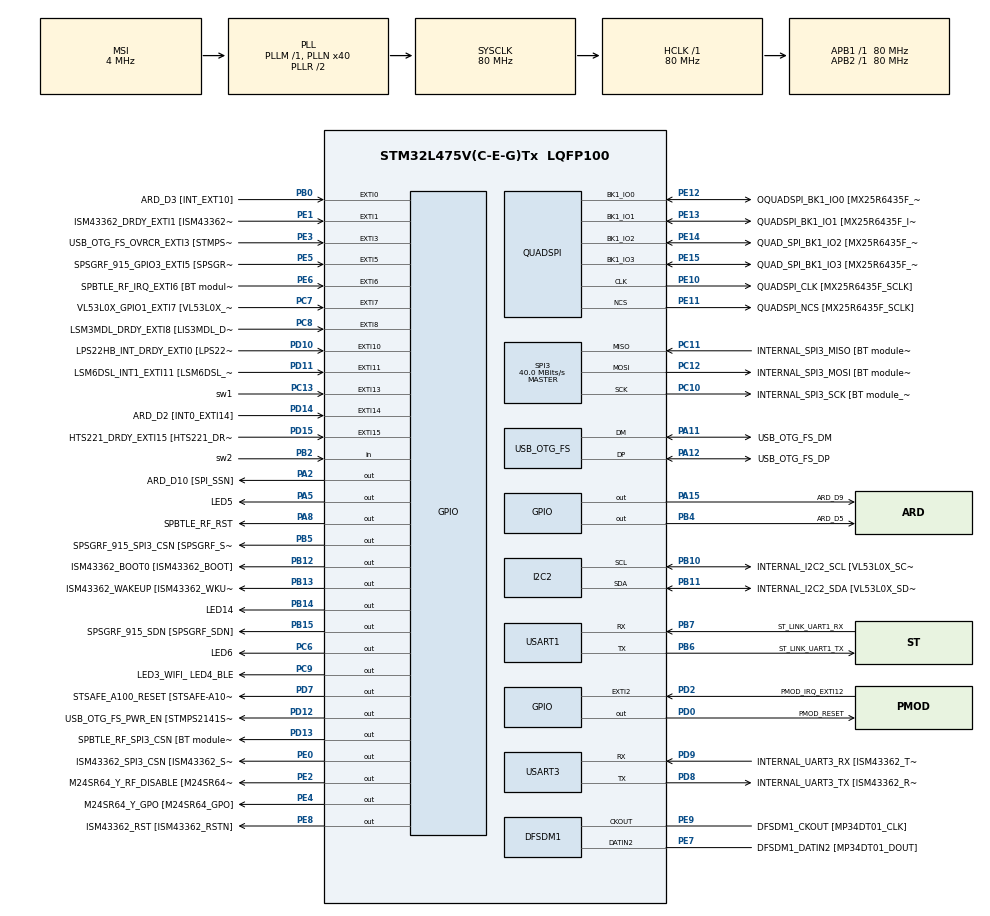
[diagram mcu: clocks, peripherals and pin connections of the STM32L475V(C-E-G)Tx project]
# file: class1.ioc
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I2C2.Timing=0x10909CEC
Mcu.Family=STM32L4
Mcu.Name=STM32L475V(C-E-G)Tx
Mcu.Package=LQFP100
NVIC.EXTI15_10_IRQn=true\:0\:0\:false\:false\:true\:true\:true
NVIC.EXTI9_5_IRQn=true\:0\:0\:false\:false\:true\:true\:true
NVIC.PriorityGroup=NVIC_PRIORITYGROUP_4
NVIC.TIM2_IRQn=true\:0\:0\:false\:false\:true\:true\:true
PA0.GPIO_Label=ARD_D1 [UART4_TX]
PA0.Signal=UART4_TX
PA1.GPIO_Label=ARD_D0 [UART4_RX]
PA1.Signal=UART4_RX
PA10.GPIO_Label=USB_OTG_FS_ID
PA10.Signal=USB_OTG_FS_ID
PA11.GPIO_Label=USB_OTG_FS_DM
PA11.Mode=Device_Only
PA11.Signal=USB_OTG_FS_DM
PA12.GPIO_Label=USB_OTG_FS_DP
PA12.Mode=Device_Only
PA12.Signal=USB_OTG_FS_DP
PA13\ (JTMS-SWDIO).GPIO_Label=SYS_JTMS_SWDIO
PA13\ (JTMS-SWDIO).Mode=Serial_Wire
PA13\ (JTMS-SWDIO).Signal=SYS_JTMS-SWDIO
PA14\ (JTCK-SWCLK).GPIO_Label=SYS_JTCK_SWCLK
PA14\ (JTCK-SWCLK).Mode=Serial_Wire
PA14\ (JTCK-SWCLK).Signal=SYS_JTCK-SWCLK
PA15\ (JTDI).GPIO_Label=ARD_D9
PA15\ (JTDI).Signal=GPIO_Output
PA2.GPIO_Label=ARD_D10 [SPI_SSN]
PA2.Signal=GPIO_Output
PA3.GPIO_Label=ARD_D4
PA3.Signal=S_TIM2_CH4
PA4.GPIO_Label=ARD_D7
PA4.Signal=ADCx_IN9
PA5.GPIO_Label=LED5
PA5.Signal=GPIO_Output
PA7.GPIO_Label=ARD_D11 [SPI1_MOSI]
PA7.Signal=SPI1_MOSI
PA8.GPIO_Label=SPBTLE_RF_RST
PA8.Signal=GPIO_Output
PA9.GPIO_Label=USB_OTG_FS_VBUS [STMPS2141STR_OUT]
PA9.Signal=USB_OTG_FS_VBUS
PB0.GPIO_Label=ARD_D3 [INT_EXT10]
PB0.Signal=GPXTI0
PB1.GPIO_Label=ARD_D6 [ADC1_IN6]
PB1.Signal=ADCx_IN16
PB10.GPIO_Label=INTERNAL_I2C2_SCL [VL53L0X_SCL]
PB10.GPIO_Pu=GPIO_PULLUP
PB10.Mode=I2C
PB10.Signal=I2C2_SCL
PB11.GPIO_Label=INTERNAL_I2C2_SDA [VL53L0X_SDA]
PB11.GPIO_Pu=GPIO_PULLUP
PB11.Mode=I2C
PB11.Signal=I2C2_SDA
PB12.GPIO_Label=ISM43362_BOOT0 [ISM43362_BOOT]
PB12.Signal=GPIO_Output
PB13.GPIO_Label=ISM43362_WAKEUP [ISM43362_WKUP]
PB13.Signal=GPIO_Output
PB14.GPIO_Label=LED14
PB14.Signal=GPIO_Output
PB15.GPIO_Label=SPSGRF_915_SDN [SPSGRF_SDN]
PB15.Signal=GPIO_Output
PB2.GPIO_Label=sw2
PB2.GPIO_PuPd=GPIO_PULLUP
PB2.Signal=GPIO_Input
PB3\ (JTDO-TRACESWO).GPIO_Label=SYS_JTD0_SWO
PB3\ (JTDO-TRACESWO).Signal=SYS_JTDO-SWO
PB4\ (NJTRST).GPIO_Label=ARD_D5
PB4\ (NJTRST).Signal=GPIO_Output
PB5.GPIO_Label=SPSGRF_915_SPI3_CSN [SPSGRF_SPI_CS]
PB5.PinState=GPIO_PIN_SET
PB5.Signal=GPIO_Output
PB6.GPIO_Label=ST_LINK_UART1_TX
PB6.Mode=Asynchronous
PB6.Signal=USART1_TX
PB7.GPIO_Label=ST_LINK_UART1_RX
PB7.Mode=Asynchronous
PB7.Signal=USART1_RX
PB8.GPIO_Label=ARD_D15 [I2C1_SCL]
PB8.Signal=I2C1_SCL
PB9.GPIO_Label=ARD_D14 [I2C1_SDA]
PB9.Signal=I2C1_SDA
PC0.GPIO_Label=ARD_A5 [ADC]
PC0.Signal=ADCx_IN1
PC1.GPIO_Label=ARD_A4 [ADC]
PC1.Signal=ADCx_IN2
PC10.GPIO_Label=INTERNAL_SPI3_SCK [BT module_SPI_SCLK] [ISM43362_SCK]
PC10.Mode=Full_Duplex_Master
PC10.Signal=SPI3_SCK
PC11.GPIO_Label=INTERNAL_SPI3_MISO [BT module_SPI_MISO] [ISM43362_MISO]
PC11.Mode=Full_Duplex_Master
PC11.Signal=SPI3_MISO
PC12.GPIO_Label=INTERNAL_SPI3_MOSI [BT module_SPI_MOSI] [ISM43362_MOSI]
PC12.Mode=Full_Duplex_Master
PC12.Signal=SPI3_MOSI
PC13.GPIO_Label=sw1
PC13.Signal=GPXTI13
PC14-OSC32_IN\ (PC14).Mode=LSE-External-Oscillator
PC14-OSC32_IN\ (PC14).Signal=RCC_OSC32_IN
PC15-OSC32_OUT\ (PC15).Mode=LSE-External-Oscillator
PC15-OSC32_OUT\ (PC15).Signal=RCC_OSC32_OUT
PC2.GPIO_Label=ARD_A3 [ADC]
PC2.Signal=ADCx_IN3
PC3.GPIO_Label=ARD_A2 [ADC]
PC3.Signal=ADCx_IN4
PC4.GPIO_Label=ARD_A1 [ADC]
PC4.Signal=ADCx_IN13
PC5.GPIO_Label=ARD_A0 [ADC]
PC5.Signal=ADCx_IN14
PC6.GPIO_Label=LED6
PC6.Signal=GPIO_Output
PC7.GPIO_Label=VL53L0X_GPIO1_EXTI7 [VL53L0X_GPIO1]
PC7.Signal=GPXTI7
PC8.GPIO_Label=LSM3MDL_DRDY_EXTI8 [LIS3MDL_DRDY]
PC8.Signal=GPXTI8
PC9.GPIO_Label=LED3_WIFI_ LED4_BLE
PC9.Signal=GPIO_Output
PD0.GPIO_Label=PMOD_RESET
PD0.Signal=GPIO_Output
PD1.GPIO_Label=PMOD_SPI2_SCK
PD1.Signal=SPI2_SCK
PD10.GPIO_Label=LPS22HB_INT_DRDY_EXTI0 [LPS22HB_INT_DRDY] 
PD10.Signal=GPXTI10
PD11.GPIO_Label=LSM6DSL_INT1_EXTI11 [LSM6DSL_INT1]
PD11.Signal=GPXTI11
PD12.GPIO_Label=USB_OTG_FS_PWR_EN [STMPS2141STR_EN]
PD12.Signal=GPIO_Output
PD13.GPIO_Label=SPBTLE_RF_SPI3_CSN [BT module_SPI_CS]
PD13.PinState=GPIO_PIN_SET
PD13.Signal=GPIO_Output
PD14.GPIO_Label=ARD_D2 [INT0_EXTI14]
PD14.Signal=GPXTI14
PD15.GPIO_Label=HTS221_DRDY_EXTI15 [HTS221_DRDY]
PD15.Signal=GPXTI15
PD2.GPIO_Label=PMOD_IRQ_EXTI12
PD2.Signal=GPXTI2
PD3.GPIO_Label=PMOD_UART2_CTS
PD3.Signal=USART2_CTS
PD4.GPIO_Label=PMOD_UART2_RTS
PD4.Signal=USART2_RTS
PD5.GPIO_Label=PMOD_UART2_TX
PD5.Signal=USART2_TX
PD6.GPIO_Label=PMOD_UART2_RX
PD6.Signal=USART2_RX
PD7.GPIO_Label=STSAFE_A100_RESET [STSAFE-A100_RESET]
PD7.Signal=GPIO_Output
PD8.GPIO_Label=INTERNAL_UART3_TX [ISM43362_RX]
PD8.Mode=Asynchronous
PD8.Signal=USART3_TX
PD9.GPIO_Label=INTERNAL_UART3_RX [ISM43362_TX]
PD9.Mode=Asynchronous
PD9.Signal=USART3_RX
PE0.GPIO_Label=ISM43362_SPI3_CSN [ISM43362_SSN]
PE0.PinState=GPIO_PIN_SET
PE0.Signal=GPIO_Output
PE1.GPIO_Label=ISM43362_DRDY_EXTI1 [ISM43362_DATARDY]
PE1.Signal=GPXTI1
PE10.GPIO_Label=QUADSPI_CLK [MX25R6435F_SCLK]
PE10.Mode=Single Bank
PE10.Signal=QUADSPI_CLK
PE11.GPIO_Label=QUADSPI_NCS [MX25R6435F_SCLK]
PE11.Mode=Single Bank
PE11.Signal=QUADSPI_NCS
PE12.GPIO_Label=OQUADSPI_BK1_IO0 [MX25R6435F_IO0]
PE12.Mode=Single Bank
PE12.Signal=QUADSPI_BK1_IO0
PE13.GPIO_Label=QUADSPI_BK1_IO1 [MX25R6435F_IO1]
PE13.Mode=Single Bank
PE13.Signal=QUADSPI_BK1_IO1
PE14.GPIO_Label=QUAD_SPI_BK1_IO2 [MX25R6435F_IO2]
PE14.Mode=Single Bank
PE14.Signal=QUADSPI_BK1_IO2
PE15.GPIO_Label=QUAD_SPI_BK1_IO3 [MX25R6435F_IO3]
PE15.Mode=Single Bank
PE15.Signal=QUADSPI_BK1_IO3
PE2.GPIO_Label=M24SR64_Y_RF_DISABLE [M24SR64_RFDIS]
PE2.Signal=GPIO_Output
PE3.GPIO_Label=USB_OTG_FS_OVRCR_EXTI3 [STMPS2141STR_FAULT]
PE3.Signal=GPXTI3
PE4.GPIO_Label=M24SR64_Y_GPO [M24SR64_GPO]
PE4.Signal=GPIO_Output
PE5.GPIO_Label=SPSGRF_915_GPIO3_EXTI5 [SPSGRF_GPIO_3]
PE5.Signal=GPXTI5
PE6.GPIO_Label=SPBTLE_RF_IRQ_EXTI6 [BT module_SPI_IRQ]
PE6.Signal=GPXTI6
PE7.GPIO_Label=DFSDM1_DATIN2 [MP34DT01_DOUT]
PE7.Signal=S_DATAIN2DFSDM1
PE8.GPIO_Label=ISM43362_RST [ISM43362_RSTN]
PE8.Signal=GPIO_Output
PE9.GPIO_Label=DFSDM1_CKOUT [MP34DT01_CLK]
PE9.Signal=S_CKOUTDFSDM1
ProjectManager.HeapSize=0x200
ProjectManager.StackSize=0x400
ProjectManager.TargetToolchain=STM32CubeIDE
QUADSPI.ClockPrescaler=2
QUADSPI.FifoThreshold=4
QUADSPI.FlashSize=23
QUADSPI.SampleShifting=QSPI_SAMPLE_SHIFTING_HALFCYCLE
RCC.ADCFreq_Value=48000000
RCC.AHBFreq_Value=80000000
RCC.APB1Freq_Value=80000000
RCC.APB1TimFreq_Value=80000000
RCC.APB2Freq_Value=80000000
RCC.APB2TimFreq_Value=80000000
RCC.CortexFreq_Value=80000000
RCC.HCLKFreq_Value=80000000
RCC.HSE_VALUE=8000000
RCC.HSI_VALUE=16000000
RCC.MSI_VALUE=4000000
RCC.PLLN=40
RCC.PLLSAI1N=24
RCC.SYSCLKFreq_VALUE=80000000
RCC.SYSCLKSource=RCC_SYSCLKSOURCE_PLLCLK
RCC.USBFreq_Value=48000000
RCC.VCOOutputFreq_Value=160000000
SH.ADCx_IN1.0=ADC1_IN1
SH.ADCx_IN13.0=ADC1_IN13
SH.ADCx_IN14.0=ADC1_IN14
SH.ADCx_IN16.0=ADC1_IN16
SH.ADCx_IN2.0=ADC1_IN2
SH.ADCx_IN3.0=ADC1_IN3
SH.ADCx_IN4.0=ADC1_IN4
SH.ADCx_IN9.0=ADC1_IN9
SH.S_CKOUTDFSDM1.0=DFSDM1_CKOUT,CKOUT
SH.S_CKOUTDFSDM1.1=DFSDM1_CKOUT,PDM_SPI_Input_from_ch12_and_Internal_Clock
SH.S_DATAIN2DFSDM1.0=DFSDM1_DATIN2,PDM_SPI_Input_from_ch12_and_Internal_Clock
SH.S_TIM2_CH4.0=TIM2_CH4
SPI3.CalculateBaudRate=40.0 MBits/s
SPI3.Direction=SPI_DIRECTION_2LINES
SPI3.Mode=SPI_MODE_MASTER
SPI3.VirtualType=VM_MASTER
USART1.VirtualMode-Asynchronous=VM_ASYNC
USART3.VirtualMode-Asynchronous=VM_ASYNC
USB_OTG_FS.VirtualMode=Device_Only
VP_TIM2_VS_ClockSourceINT.Mode=Internal
board=B-L475E-IOT01A1

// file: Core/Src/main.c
/* USER CODE BEGIN Header */
/**
  ******************************************************************************
  * @file           : main.c
  * @brief          : Main program body
  ******************************************************************************
  * @attention
  *
  * <h2><center>&copy; Copyright (c) 2022 STMicroelectronics.
  * All rights reserved.</center></h2>
  *
  * This software component is licensed by ST under BSD 3-Clause license,
  * the "License"; You may not use this file except in compliance with the
  * License. You may obtain a copy of the License at:
  *                        opensource.org/licenses/BSD-3-Clause
  *
  ******************************************************************************
  */
/* USER CODE END Header */
#include "main.h"

/* USER CODE BEGIN Includes */
#include "stdio.h"
uint8_t c=0;

/* USER CODE END Includes */

DFSDM_Channel_HandleTypeDef hdfsdm1_channel1;

I2C_HandleTypeDef hi2c2;

QSPI_HandleTypeDef hqspi;

SPI_HandleTypeDef hspi3;

TIM_HandleTypeDef htim2;

UART_HandleTypeDef huart1;
UART_HandleTypeDef huart3;

PCD_HandleTypeDef hpcd_USB_OTG_FS;

void SystemClock_Config(void);
static void MX_GPIO_Init(void);
static void MX_DFSDM1_Init(void);
static void MX_I2C2_Init(void);
static void MX_QUADSPI_Init(void);
static void MX_SPI3_Init(void);
static void MX_USART1_UART_Init(void);
static void MX_USART3_UART_Init(void);
static void MX_USB_OTG_FS_PCD_Init(void);
static void MX_TIM2_Init(void);

int main(void)
{

  /* MCU Configuration--------------------------------------------------------*/

  /* Reset of all peripherals, Initializes the Flash interface and the Systick. */
  HAL_Init();

  /* Configure the system clock */
  SystemClock_Config();

  /* Initialize all configured peripherals */
  MX_GPIO_Init();
  MX_DFSDM1_Init();
  MX_I2C2_Init();
  MX_QUADSPI_Init();
  MX_SPI3_Init();
  MX_USART1_UART_Init();
  MX_USART3_UART_Init();
  MX_USB_OTG_FS_PCD_Init();
  MX_TIM2_Init();
  /* USER CODE BEGIN 2 */
  // HAL_TIM_Base_Start_IT(&htim2);
  /* USER CODE END 2 */

  /* Infinite loop */
  while (1)
  {

    /* USER CODE BEGIN 3 */
/*
	  if (HAL_GPIO_ReadPin(sw2_GPIO_Port, GPIO_PIN_2) == 0)
	  {
		  c++;
		  printf("Reading pin status\n");
	  }
*/

	 // printf("count=%d\n",c);

	  switch(c)
	  {
		  case 1:
		  {
			  printf("In case 1\n");
			  HAL_GPIO_WritePin(LED5_GPIO_Port, GPIO_PIN_5,1);
			  HAL_Delay(1000);
			  HAL_GPIO_WritePin(LED5_GPIO_Port, GPIO_PIN_5,0);
			  HAL_Delay(1000);
		  break;
		  }

		  case 2:
		  {
			  printf("In case 2\n");
			  HAL_GPIO_WritePin(LED14_GPIO_Port, GPIO_PIN_14,1);
			  HAL_GPIO_WritePin(LED5_GPIO_Port, GPIO_PIN_5,1);
			  HAL_Delay(1000);
			  HAL_GPIO_WritePin(LED14_GPIO_Port, GPIO_PIN_14,0);
			  HAL_GPIO_WritePin(LED5_GPIO_Port, GPIO_PIN_5,0);
			  HAL_Delay(1000);

			  break;
		  }

		  case 3:
		  {
			  printf("In case 3\n");
			  HAL_GPIO_WritePin(LED14_GPIO_Port, GPIO_PIN_14,1);
			  HAL_GPIO_WritePin(LED5_GPIO_Port, GPIO_PIN_5,1);
			  HAL_Delay(500);
		  break;
		  }
		  case 4:
		  {
			  printf("In case 4\n");
			  HAL_GPIO_WritePin(LED14_GPIO_Port, GPIO_PIN_14,0);
			  HAL_GPIO_WritePin(LED5_GPIO_Port, GPIO_PIN_5,0);
			  HAL_Delay(500);
		  break;
		  }
		  case 5:
		  {
		  c=1;
		  break;
		  }

		  default :
		  {
			  HAL_GPIO_WritePin(LED14_GPIO_Port, GPIO_PIN_14,0);
			  HAL_GPIO_WritePin(LED5_GPIO_Port, GPIO_PIN_5,0);
		  }

	  }

  }
  /* USER CODE END 3 */
}

void SystemClock_Config(void)
{
  RCC_OscInitTypeDef RCC_OscInitStruct = {0};
  RCC_ClkInitTypeDef RCC_ClkInitStruct = {0};

  /** Configure the main internal regulator output voltage
  */
  if (HAL_PWREx_ControlVoltageScaling(PWR_REGULATOR_VOLTAGE_SCALE1) != HAL_OK)
  {
    Error_Handler();
  }
  /** Configure LSE Drive Capability
  */
  HAL_PWR_EnableBkUpAccess();
  __HAL_RCC_LSEDRIVE_CONFIG(RCC_LSEDRIVE_LOW);
  /** Initializes the RCC Oscillators according to the specified parameters
  * in the RCC_OscInitTypeDef structure.
  */
  RCC_OscInitStruct.OscillatorType = RCC_OSCILLATORTYPE_LSE|RCC_OSCILLATORTYPE_MSI;
  RCC_OscInitStruct.LSEState = RCC_LSE_ON;
  RCC_OscInitStruct.MSIState = RCC_MSI_ON;
  RCC_OscInitStruct.MSICalibrationValue = 0;
  RCC_OscInitStruct.MSIClockRange = RCC_MSIRANGE_6;
  RCC_OscInitStruct.PLL.PLLState = RCC_PLL_ON;
  RCC_OscInitStruct.PLL.PLLSource = RCC_PLLSOURCE_MSI;
  RCC_OscInitStruct.PLL.PLLM = 1;
  RCC_OscInitStruct.PLL.PLLN = 40;
  RCC_OscInitStruct.PLL.PLLP = RCC_PLLP_DIV7;
  RCC_OscInitStruct.PLL.PLLQ = RCC_PLLQ_DIV2;
  RCC_OscInitStruct.PLL.PLLR = RCC_PLLR_DIV2;
  if (HAL_RCC_OscConfig(&RCC_OscInitStruct) != HAL_OK)
  {
    Error_Handler();
  }
  /** Initializes the CPU, AHB and APB buses clocks
  */
  RCC_ClkInitStruct.ClockType = RCC_CLOCKTYPE_HCLK|RCC_CLOCKTYPE_SYSCLK
                              |RCC_CLOCKTYPE_PCLK1|RCC_CLOCKTYPE_PCLK2;
  RCC_ClkInitStruct.SYSCLKSource = RCC_SYSCLKSOURCE_PLLCLK;
  RCC_ClkInitStruct.AHBCLKDivider = RCC_SYSCLK_DIV1;
  RCC_ClkInitStruct.APB1CLKDivider = RCC_HCLK_DIV1;
  RCC_ClkInitStruct.APB2CLKDivider = RCC_HCLK_DIV1;

  if (HAL_RCC_ClockConfig(&RCC_ClkInitStruct, FLASH_LATENCY_4) != HAL_OK)
  {
    Error_Handler();
  }
  /** Enable MSI Auto calibration
  */
  HAL_RCCEx_EnableMSIPLLMode();
}

static void MX_DFSDM1_Init(void)
{

  hdfsdm1_channel1.Instance = DFSDM1_Channel1;
  hdfsdm1_channel1.Init.OutputClock.Activation = ENABLE;
  hdfsdm1_channel1.Init.OutputClock.Selection = DFSDM_CHANNEL_OUTPUT_CLOCK_SYSTEM;
  hdfsdm1_channel1.Init.OutputClock.Divider = 2;
  hdfsdm1_channel1.Init.Input.Multiplexer = DFSDM_CHANNEL_EXTERNAL_INPUTS;
  hdfsdm1_channel1.Init.Input.DataPacking = DFSDM_CHANNEL_STANDARD_MODE;
  hdfsdm1_channel1.Init.Input.Pins = DFSDM_CHANNEL_FOLLOWING_CHANNEL_PINS;
  hdfsdm1_channel1.Init.SerialInterface.Type = DFSDM_CHANNEL_SPI_RISING;
  hdfsdm1_channel1.Init.SerialInterface.SpiClock = DFSDM_CHANNEL_SPI_CLOCK_INTERNAL;
  hdfsdm1_channel1.Init.Awd.FilterOrder = DFSDM_CHANNEL_FASTSINC_ORDER;
  hdfsdm1_channel1.Init.Awd.Oversampling = 1;
  hdfsdm1_channel1.Init.Offset = 0;
  hdfsdm1_channel1.Init.RightBitShift = 0x00;
  if (HAL_DFSDM_ChannelInit(&hdfsdm1_channel1) != HAL_OK)
  {
    Error_Handler();
  }

}

static void MX_I2C2_Init(void)
{

  hi2c2.Instance = I2C2;
  hi2c2.Init.Timing = 0x10909CEC;
  hi2c2.Init.OwnAddress1 = 0;
  hi2c2.Init.AddressingMode = I2C_ADDRESSINGMODE_7BIT;
  hi2c2.Init.DualAddressMode = I2C_DUALADDRESS_DISABLE;
  hi2c2.Init.OwnAddress2 = 0;
  hi2c2.Init.OwnAddress2Masks = I2C_OA2_NOMASK;
  hi2c2.Init.GeneralCallMode = I2C_GENERALCALL_DISABLE;
  hi2c2.Init.NoStretchMode = I2C_NOSTRETCH_DISABLE;
  if (HAL_I2C_Init(&hi2c2) != HAL_OK)
  {
    Error_Handler();
  }
  /** Configure Analogue filter
  */
  if (HAL_I2CEx_ConfigAnalogFilter(&hi2c2, I2C_ANALOGFILTER_ENABLE) != HAL_OK)
  {
    Error_Handler();
  }
  /** Configure Digital filter
  */
  if (HAL_I2CEx_ConfigDigitalFilter(&hi2c2, 0) != HAL_OK)
  {
    Error_Handler();
  }

}

static void MX_QUADSPI_Init(void)
{

  /* QUADSPI parameter configuration*/
  hqspi.Instance = QUADSPI;
  hqspi.Init.ClockPrescaler = 2;
  hqspi.Init.FifoThreshold = 4;
  hqspi.Init.SampleShifting = QSPI_SAMPLE_SHIFTING_HALFCYCLE;
  hqspi.Init.FlashSize = 23;
  hqspi.Init.ChipSelectHighTime = QSPI_CS_HIGH_TIME_1_CYCLE;
  hqspi.Init.ClockMode = QSPI_CLOCK_MODE_0;
  if (HAL_QSPI_Init(&hqspi) != HAL_OK)
  {
    Error_Handler();
  }

}

static void MX_SPI3_Init(void)
{

  /* SPI3 parameter configuration*/
  hspi3.Instance = SPI3;
  hspi3.Init.Mode = SPI_MODE_MASTER;
  hspi3.Init.Direction = SPI_DIRECTION_2LINES;
  hspi3.Init.DataSize = SPI_DATASIZE_4BIT;
  hspi3.Init.CLKPolarity = SPI_POLARITY_LOW;
  hspi3.Init.CLKPhase = SPI_PHASE_1EDGE;
  hspi3.Init.NSS = SPI_NSS_SOFT;
  hspi3.Init.BaudRatePrescaler = SPI_BAUDRATEPRESCALER_2;
  hspi3.Init.FirstBit = SPI_FIRSTBIT_MSB;
  hspi3.Init.TIMode = SPI_TIMODE_DISABLE;
  hspi3.Init.CRCCalculation = SPI_CRCCALCULATION_DISABLE;
  hspi3.Init.CRCPolynomial = 7;
  hspi3.Init.CRCLength = SPI_CRC_LENGTH_DATASIZE;
  hspi3.Init.NSSPMode = SPI_NSS_PULSE_ENABLE;
  if (HAL_SPI_Init(&hspi3) != HAL_OK)
  {
    Error_Handler();
  }

}

static void MX_TIM2_Init(void)
{

  TIM_ClockConfigTypeDef sClockSourceConfig = {0};
  TIM_MasterConfigTypeDef sMasterConfig = {0};

  htim2.Instance = TIM2;
  htim2.Init.Prescaler = 0;
  htim2.Init.CounterMode = TIM_COUNTERMODE_UP;
  htim2.Init.Period = 4294967295;
  htim2.Init.ClockDivision = TIM_CLOCKDIVISION_DIV1;
  htim2.Init.AutoReloadPreload = TIM_AUTORELOAD_PRELOAD_DISABLE;
  if (HAL_TIM_Base_Init(&htim2) != HAL_OK)
  {
    Error_Handler();
  }
  sClockSourceConfig.ClockSource = TIM_CLOCKSOURCE_INTERNAL;
  if (HAL_TIM_ConfigClockSource(&htim2, &sClockSourceConfig) != HAL_OK)
  {
    Error_Handler();
  }
  sMasterConfig.MasterOutputTrigger = TIM_TRGO_RESET;
  sMasterConfig.MasterSlaveMode = TIM_MASTERSLAVEMODE_DISABLE;
  if (HAL_TIMEx_MasterConfigSynchronization(&htim2, &sMasterConfig) != HAL_OK)
  {
    Error_Handler();
  }

}

static void MX_USART1_UART_Init(void)
{

  huart1.Instance = USART1;
  huart1.Init.BaudRate = 115200;
  huart1.Init.WordLength = UART_WORDLENGTH_8B;
  huart1.Init.StopBits = UART_STOPBITS_1;
  huart1.Init.Parity = UART_PARITY_NONE;
  huart1.Init.Mode = UART_MODE_TX_RX;
  huart1.Init.HwFlowCtl = UART_HWCONTROL_NONE;
  huart1.Init.OverSampling = UART_OVERSAMPLING_16;
  huart1.Init.OneBitSampling = UART_ONE_BIT_SAMPLE_DISABLE;
  huart1.AdvancedInit.AdvFeatureInit = UART_ADVFEATURE_NO_INIT;
  if (HAL_UART_Init(&huart1) != HAL_OK)
  {
    Error_Handler();
  }

}

static void MX_USART3_UART_Init(void)
{

  huart3.Instance = USART3;
  huart3.Init.BaudRate = 115200;
  huart3.Init.WordLength = UART_WORDLENGTH_8B;
  huart3.Init.StopBits = UART_STOPBITS_1;
  huart3.Init.Parity = UART_PARITY_NONE;
  huart3.Init.Mode = UART_MODE_TX_RX;
  huart3.Init.HwFlowCtl = UART_HWCONTROL_NONE;
  huart3.Init.OverSampling = UART_OVERSAMPLING_16;
  huart3.Init.OneBitSampling = UART_ONE_BIT_SAMPLE_DISABLE;
  huart3.AdvancedInit.AdvFeatureInit = UART_ADVFEATURE_NO_INIT;
  if (HAL_UART_Init(&huart3) != HAL_OK)
  {
    Error_Handler();
  }

}

static void MX_USB_OTG_FS_PCD_Init(void)
{

  hpcd_USB_OTG_FS.Instance = USB_OTG_FS;
  hpcd_USB_OTG_FS.Init.dev_endpoints = 6;
  hpcd_USB_OTG_FS.Init.speed = PCD_SPEED_FULL;
  hpcd_USB_OTG_FS.Init.phy_itface = PCD_PHY_EMBEDDED;
  hpcd_USB_OTG_FS.Init.Sof_enable = DISABLE;
  hpcd_USB_OTG_FS.Init.low_power_enable = DISABLE;
  hpcd_USB_OTG_FS.Init.lpm_enable = DISABLE;
  hpcd_USB_OTG_FS.Init.battery_charging_enable = DISABLE;
  hpcd_USB_OTG_FS.Init.use_dedicated_ep1 = DISABLE;
  hpcd_USB_OTG_FS.Init.vbus_sensing_enable = DISABLE;
  if (HAL_PCD_Init(&hpcd_USB_OTG_FS) != HAL_OK)
  {
    Error_Handler();
  }

}

static void MX_GPIO_Init(void)
{
  GPIO_InitTypeDef GPIO_InitStruct = {0};

  /* GPIO Ports Clock Enable */
  __HAL_RCC_GPIOE_CLK_ENABLE();
  __HAL_RCC_GPIOC_CLK_ENABLE();
  __HAL_RCC_GPIOA_CLK_ENABLE();
  __HAL_RCC_GPIOB_CLK_ENABLE();
  __HAL_RCC_GPIOD_CLK_ENABLE();

  /*Configure GPIO pin Output Level */
  HAL_GPIO_WritePin(GPIOE, M24SR64_Y_RF_DISABLE_Pin|M24SR64_Y_GPO_Pin|ISM43362_RST_Pin, GPIO_PIN_RESET);

  /*Configure GPIO pin Output Level */
  HAL_GPIO_WritePin(GPIOA, ARD_D10_Pin|LED5_Pin|SPBTLE_RF_RST_Pin|ARD_D9_Pin, GPIO_PIN_RESET);

  /*Configure GPIO pin Output Level */
  HAL_GPIO_WritePin(GPIOB, ISM43362_BOOT0_Pin|ISM43362_WAKEUP_Pin|LED14_Pin|SPSGRF_915_SDN_Pin
                          |ARD_D5_Pin, GPIO_PIN_RESET);

  /*Configure GPIO pin Output Level */
  HAL_GPIO_WritePin(GPIOD, USB_OTG_FS_PWR_EN_Pin|PMOD_RESET_Pin|STSAFE_A100_RESET_Pin, GPIO_PIN_RESET);

  /*Configure GPIO pin Output Level */
  HAL_GPIO_WritePin(SPBTLE_RF_SPI3_CSN_GPIO_Port, SPBTLE_RF_SPI3_CSN_Pin, GPIO_PIN_SET);

  /*Configure GPIO pin Output Level */
  HAL_GPIO_WritePin(GPIOC, LED6_Pin|LED3_WIFI__LED4_BLE_Pin, GPIO_PIN_RESET);

  /*Configure GPIO pin Output Level */
  HAL_GPIO_WritePin(SPSGRF_915_SPI3_CSN_GPIO_Port, SPSGRF_915_SPI3_CSN_Pin, GPIO_PIN_SET);

  /*Configure GPIO pin Output Level */
  HAL_GPIO_WritePin(ISM43362_SPI3_CSN_GPIO_Port, ISM43362_SPI3_CSN_Pin, GPIO_PIN_SET);

  /*Configure GPIO pins : M24SR64_Y_RF_DISABLE_Pin M24SR64_Y_GPO_Pin ISM43362_RST_Pin ISM43362_SPI3_CSN_Pin */
  GPIO_InitStruct.Pin = M24SR64_Y_RF_DISABLE_Pin|M24SR64_Y_GPO_Pin|ISM43362_RST_Pin|ISM43362_SPI3_CSN_Pin;
  GPIO_InitStruct.Mode = GPIO_MODE_OUTPUT_PP;
  GPIO_InitStruct.Pull = GPIO_NOPULL;
  GPIO_InitStruct.Speed = GPIO_SPEED_FREQ_LOW;
  HAL_GPIO_Init(GPIOE, &GPIO_InitStruct);

  /*Configure GPIO pins : USB_OTG_FS_OVRCR_EXTI3_Pin SPSGRF_915_GPIO3_EXTI5_Pin SPBTLE_RF_IRQ_EXTI6_Pin ISM43362_DRDY_EXTI1_Pin */
  GPIO_InitStruct.Pin = USB_OTG_FS_OVRCR_EXTI3_Pin|SPSGRF_915_GPIO3_EXTI5_Pin|SPBTLE_RF_IRQ_EXTI6_Pin|ISM43362_DRDY_EXTI1_Pin;
  GPIO_InitStruct.Mode = GPIO_MODE_IT_RISING;
  GPIO_InitStruct.Pull = GPIO_NOPULL;
  HAL_GPIO_Init(GPIOE, &GPIO_InitStruct);

  /*Configure GPIO pins : sw1_Pin VL53L0X_GPIO1_EXTI7_Pin LSM3MDL_DRDY_EXTI8_Pin */
  GPIO_InitStruct.Pin = sw1_Pin|VL53L0X_GPIO1_EXTI7_Pin|LSM3MDL_DRDY_EXTI8_Pin;
  GPIO_InitStruct.Mode = GPIO_MODE_IT_RISING;
  GPIO_InitStruct.Pull = GPIO_NOPULL;
  HAL_GPIO_Init(GPIOC, &GPIO_InitStruct);

  /*Configure GPIO pins : ARD_A5_Pin ARD_A4_Pin ARD_A3_Pin ARD_A2_Pin
                           ARD_A1_Pin ARD_A0_Pin */
  GPIO_InitStruct.Pin = ARD_A5_Pin|ARD_A4_Pin|ARD_A3_Pin|ARD_A2_Pin
                          |ARD_A1_Pin|ARD_A0_Pin;
  GPIO_InitStruct.Mode = GPIO_MODE_ANALOG_ADC_CONTROL;
  GPIO_InitStruct.Pull = GPIO_NOPULL;
  HAL_GPIO_Init(GPIOC, &GPIO_InitStruct);

  /*Configure GPIO pins : ARD_D1_Pin ARD_D0_Pin */
  GPIO_InitStruct.Pin = ARD_D1_Pin|ARD_D0_Pin;
  GPIO_InitStruct.Mode = GPIO_MODE_AF_PP;
  GPIO_InitStruct.Pull = GPIO_NOPULL;
  GPIO_InitStruct.Speed = GPIO_SPEED_FREQ_VERY_HIGH;
  GPIO_InitStruct.Alternate = GPIO_AF8_UART4;
  HAL_GPIO_Init(GPIOA, &GPIO_InitStruct);

  /*Configure GPIO pins : ARD_D10_Pin LED5_Pin SPBTLE_RF_RST_Pin ARD_D9_Pin */
  GPIO_InitStruct.Pin = ARD_D10_Pin|LED5_Pin|SPBTLE_RF_RST_Pin|ARD_D9_Pin;
  GPIO_InitStruct.Mode = GPIO_MODE_OUTPUT_PP;
  GPIO_InitStruct.Pull = GPIO_NOPULL;
  GPIO_InitStruct.Speed = GPIO_SPEED_FREQ_LOW;
  HAL_GPIO_Init(GPIOA, &GPIO_InitStruct);

  /*Configure GPIO pin : ARD_D7_Pin */
  GPIO_InitStruct.Pin = ARD_D7_Pin;
  GPIO_InitStruct.Mode = GPIO_MODE_ANALOG_ADC_CONTROL;
  GPIO_InitStruct.Pull = GPIO_NOPULL;
  HAL_GPIO_Init(ARD_D7_GPIO_Port, &GPIO_InitStruct);

  /*Configure GPIO pin : ARD_D11_Pin */
  GPIO_InitStruct.Pin = ARD_D11_Pin;
  GPIO_InitStruct.Mode = GPIO_MODE_AF_PP;
  GPIO_InitStruct.Pull = GPIO_NOPULL;
  GPIO_InitStruct.Speed = GPIO_SPEED_FREQ_VERY_HIGH;
  GPIO_InitStruct.Alternate = GPIO_AF5_SPI1;
  HAL_GPIO_Init(ARD_D11_GPIO_Port, &GPIO_InitStruct);

  /*Configure GPIO pin : ARD_D3_Pin */
  GPIO_InitStruct.Pin = ARD_D3_Pin;
  GPIO_InitStruct.Mode = GPIO_MODE_IT_RISING;
  GPIO_InitStruct.Pull = GPIO_NOPULL;
  HAL_GPIO_Init(ARD_D3_GPIO_Port, &GPIO_InitStruct);

  /*Configure GPIO pin : ARD_D6_Pin */
  GPIO_InitStruct.Pin = ARD_D6_Pin;
  GPIO_InitStruct.Mode = GPIO_MODE_ANALOG_ADC_CONTROL;
  GPIO_InitStruct.Pull = GPIO_NOPULL;
  HAL_GPIO_Init(ARD_D6_GPIO_Port, &GPIO_InitStruct);

  /*Configure GPIO pin : sw2_Pin */
  GPIO_InitStruct.Pin = sw2_Pin;
  GPIO_InitStruct.Mode = GPIO_MODE_INPUT;
  GPIO_InitStruct.Pull = GPIO_PULLUP;
  HAL_GPIO_Init(sw2_GPIO_Port, &GPIO_InitStruct);

  /*Configure GPIO pins : ISM43362_BOOT0_Pin ISM43362_WAKEUP_Pin LED14_Pin SPSGRF_915_SDN_Pin
                           ARD_D5_Pin SPSGRF_915_SPI3_CSN_Pin */
  GPIO_InitStruct.Pin = ISM43362_BOOT0_Pin|ISM43362_WAKEUP_Pin|LED14_Pin|SPSGRF_915_SDN_Pin
                          |ARD_D5_Pin|SPSGRF_915_SPI3_CSN_Pin;
  GPIO_InitStruct.Mode = GPIO_MODE_OUTPUT_PP;
  GPIO_InitStruct.Pull = GPIO_NOPULL;
  GPIO_InitStruct.Speed = GPIO_SPEED_FREQ_LOW;
  HAL_GPIO_Init(GPIOB, &GPIO_InitStruct);

  /*Configure GPIO pins : LPS22HB_INT_DRDY_EXTI0_Pin LSM6DSL_INT1_EXTI11_Pin ARD_D2_Pin HTS221_DRDY_EXTI15_Pin
                           PMOD_IRQ_EXTI12_Pin */
  GPIO_InitStruct.Pin = LPS22HB_INT_DRDY_EXTI0_Pin|LSM6DSL_INT1_EXTI11_Pin|ARD_D2_Pin|HTS221_DRDY_EXTI15_Pin
                          |PMOD_IRQ_EXTI12_Pin;
  GPIO_InitStruct.Mode = GPIO_MODE_IT_RISING;
  GPIO_InitStruct.Pull = GPIO_NOPULL;
  HAL_GPIO_Init(GPIOD, &GPIO_InitStruct);

  /*Configure GPIO pins : USB_OTG_FS_PWR_EN_Pin SPBTLE_RF_SPI3_CSN_Pin PMOD_RESET_Pin STSAFE_A100_RESET_Pin */
  GPIO_InitStruct.Pin = USB_OTG_FS_PWR_EN_Pin|SPBTLE_RF_SPI3_CSN_Pin|PMOD_RESET_Pin|STSAFE_A100_RESET_Pin;
  GPIO_InitStruct.Mode = GPIO_MODE_OUTPUT_PP;
  GPIO_InitStruct.Pull = GPIO_NOPULL;
  GPIO_InitStruct.Speed = GPIO_SPEED_FREQ_LOW;
  HAL_GPIO_Init(GPIOD, &GPIO_InitStruct);

  /*Configure GPIO pins : LED6_Pin LED3_WIFI__LED4_BLE_Pin */
  GPIO_InitStruct.Pin = LED6_Pin|LED3_WIFI__LED4_BLE_Pin;
  GPIO_InitStruct.Mode = GPIO_MODE_OUTPUT_PP;
  GPIO_InitStruct.Pull = GPIO_NOPULL;
  GPIO_InitStruct.Speed = GPIO_SPEED_FREQ_LOW;
  HAL_GPIO_Init(GPIOC, &GPIO_InitStruct);

  /*Configure GPIO pin : PMOD_SPI2_SCK_Pin */
  GPIO_InitStruct.Pin = PMOD_SPI2_SCK_Pin;
  GPIO_InitStruct.Mode = GPIO_MODE_AF_PP;
  GPIO_InitStruct.Pull = GPIO_NOPULL;
  GPIO_InitStruct.Speed = GPIO_SPEED_FREQ_VERY_HIGH;
  GPIO_InitStruct.Alternate = GPIO_AF5_SPI2;
  HAL_GPIO_Init(PMOD_SPI2_SCK_GPIO_Port, &GPIO_InitStruct);

  /*Configure GPIO pins : PMOD_UART2_CTS_Pin PMOD_UART2_RTS_Pin PMOD_UART2_TX_Pin PMOD_UART2_RX_Pin */
  GPIO_InitStruct.Pin = PMOD_UART2_CTS_Pin|PMOD_UART2_RTS_Pin|PMOD_UART2_TX_Pin|PMOD_UART2_RX_Pin;
  GPIO_InitStruct.Mode = GPIO_MODE_AF_PP;
  GPIO_InitStruct.Pull = GPIO_NOPULL;
  GPIO_InitStruct.Speed = GPIO_SPEED_FREQ_VERY_HIGH;
  GPIO_InitStruct.Alternate = GPIO_AF7_USART2;
  HAL_GPIO_Init(GPIOD, &GPIO_InitStruct);

  /*Configure GPIO pins : ARD_D15_Pin ARD_D14_Pin */
  GPIO_InitStruct.Pin = ARD_D15_Pin|ARD_D14_Pin;
  GPIO_InitStruct.Mode = GPIO_MODE_AF_OD;
  GPIO_InitStruct.Pull = GPIO_NOPULL;
  GPIO_InitStruct.Speed = GPIO_SPEED_FREQ_VERY_HIGH;
  GPIO_InitStruct.Alternate = GPIO_AF4_I2C1;
  HAL_GPIO_Init(GPIOB, &GPIO_InitStruct);

  /* EXTI interrupt init*/
  HAL_NVIC_SetPriority(EXTI9_5_IRQn, 0, 0);
  HAL_NVIC_EnableIRQ(EXTI9_5_IRQn);

  HAL_NVIC_SetPriority(EXTI15_10_IRQn, 0, 0);
  HAL_NVIC_EnableIRQ(EXTI15_10_IRQn);

}

/* USER CODE BEGIN 4 */
//int c=0;
void HAL_GPIO_EXTI_Callback(uint16_t GPIO_Pin)
{
	if(GPIO_Pin == sw1_Pin)
	{
		//HAL_GPIO_TogglePin(LED14_GPIO_Port, LED14_Pin);
		//printf("Button pressed event!!\n");
		c++;
		printf("count : %d",c);
	}
	else {
	__NOP();
	}
}

/*void HAL_TIM_PeriodElapsedCallback(TIM_HandleTypeDef *htim)
{
HAL_GPIO_TogglePin(LED14_GPIO_Port, LED14_Pin);
printf("Timer interrupt!!\n");
}*/

/* USER CODE END 4 */

void Error_Handler(void)
{
  __disable_irq();
  while (1)
  {
  }
}

/************************ (C) COPYRIGHT STMicroelectronics *****END OF FILE****/
